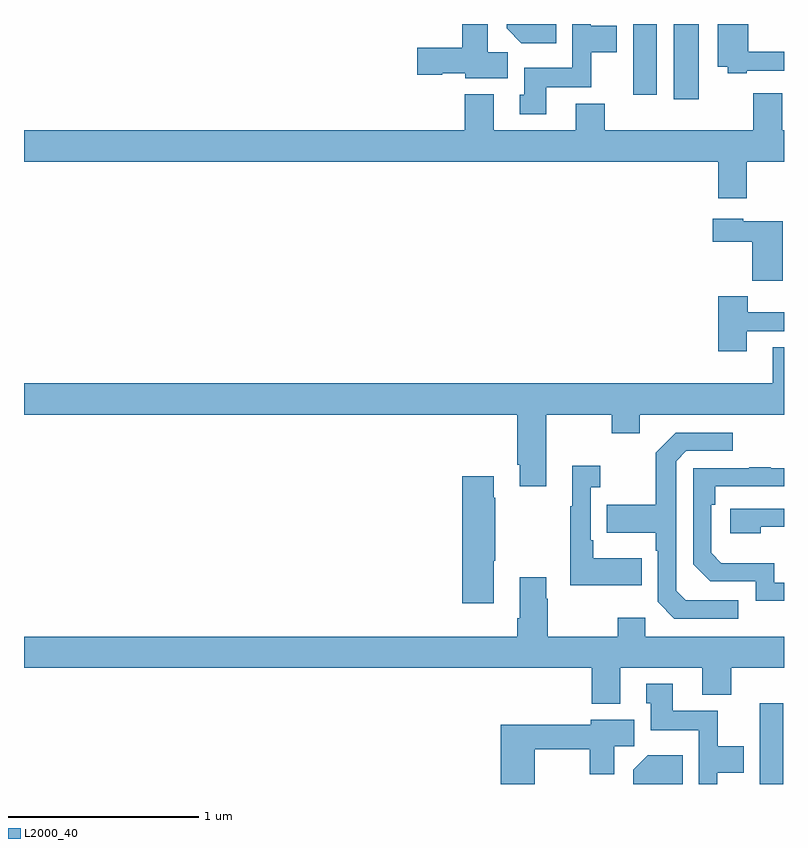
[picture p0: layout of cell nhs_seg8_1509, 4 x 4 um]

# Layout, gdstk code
import gdstk
lib = gdstk.Library(unit=1e-6, precision=1e-09)
def R(c, l, rs):  # rectangles x0, y0, x1, y1
    for r in rs: c.add(gdstk.rectangle(r[:2], r[2:], *l))
def P(c, l, *ps):  # polygons
    for p in ps: c.add(gdstk.Polygon(p, *l))
L2000_40 = (2000, 40)

nhs_seg8_1509 = lib.new_cell('nhs_seg8_1509')
R(nhs_seg8_1509, L2000_40, [(210.872,1103.9,210.997,1104.325), (210.419,1107.504,210.55,1107.9), (210.206,1107.528,210.331,1107.9)])
P(nhs_seg8_1509, L2000_40, [(209.801,1107.9),(209.54,1107.9),(209.54,1107.878),(209.618,1107.8),(209.801,1107.8)],
  [(210.805,1107.654),(211,1107.654),(211,1107.755),(210.812,1107.755),(210.812,1107.9),(210.65,1107.9),(210.65,1107.674),(210.705,1107.674),(210.705,1107.642),(210.805,1107.642)],
  [(209.545,1107.752),(209.44,1107.752),(209.44,1107.9),(209.306,1107.9),(209.306,1107.776),(209.07,1107.776),(209.07,1107.634),(209.202,1107.634),(209.202,1107.641),(209.322,1107.641),(209.322,1107.614),(209.545,1107.614)],
  [(209.749,1107.566),(209.985,1107.566),(209.985,1107.752),(210.121,1107.752),(210.121,1107.892),(209.982,1107.892),(209.982,1107.9),(209.886,1107.9),(209.886,1107.67),(209.633,1107.67),(209.633,1107.528),(209.609,1107.528),(209.609,1107.426),(209.749,1107.426)],
  [(210.805,1107.176),(211,1107.176),(211,1107.34),(210.992,1107.34),(210.992,1107.535),(210.839,1107.535),(210.839,1107.34),(210.056,1107.34),(210.056,1107.481),(209.903,1107.481),(209.903,1107.34),(209.473,1107.34),(209.473,1107.529),(209.321,1107.529),(209.321,1107.34),(207,1107.34),(207,1107.176),(210.653,1107.176),(210.653,1106.982),(210.805,1106.982)],
  [(210.994,1106.863),(210.786,1106.863),(210.786,1106.875),(210.624,1106.875),(210.624,1106.753),(210.832,1106.753),(210.832,1106.549),(210.994,1106.549)],
  [(210.805,1106.283),(211,1106.283),(211,1106.383),(210.808,1106.383),(210.808,1106.467),(210.653,1106.467),(210.653,1106.178),(210.805,1106.178)],
  [(209.749,1105.844),(210.094,1105.844),(210.094,1105.745),(210.241,1105.745),(210.241,1105.844),(211,1105.844),(211,1106.198),(210.941,1106.198),(210.941,1106.008),(207,1106.008),(207,1105.844),(209.597,1105.844),(209.597,1105.579),(209.609,1105.579),(209.609,1105.467),(209.749,1105.467)],
  [(210.76,1104.867),(210.483,1104.867),(210.432,1104.918),(210.432,1105.599),(210.486,1105.653),(210.73,1105.653),(210.73,1105.749),(210.429,1105.749),(210.324,1105.643),(210.324,1105.371),(210.067,1105.371),(210.067,1105.223),(210.324,1105.223),(210.324,1105.127),(210.336,1105.127),(210.336,1104.858),(210.423,1104.771),(210.76,1104.771)],
  [(210.251,1105.087),(209.995,1105.087),(209.995,1105.183),(209.982,1105.183),(209.982,1105.463),(210.034,1105.463),(210.034,1105.576),(209.885,1105.576),(209.885,1105.363),(209.874,1105.363),(209.874,1104.947),(210.251,1104.947)],
  [(211,1104.96),(210.948,1104.96),(210.948,1105.063),(210.671,1105.063),(210.618,1105.116),(210.618,1105.37),(210.638,1105.37),(210.638,1105.467),(211,1105.467),(211,1105.563),(210.929,1105.563),(210.929,1105.568),(210.817,1105.568),(210.817,1105.563),(210.522,1105.563),(210.522,1105.056),(210.612,1104.966),(210.852,1104.966),(210.852,1104.864),(211,1104.864)],
  [(209.473,1105.075),(209.481,1105.075),(209.481,1105.406),(209.473,1105.406),(209.473,1105.519),(209.306,1105.519),(209.306,1104.852),(209.473,1104.852)],
  [(210.878,1105.254),(211,1105.254),(211,1105.35),(210.717,1105.35),(210.717,1105.22),(210.878,1105.22)],
  [(210.139,1104.512),(210.569,1104.512),(210.569,1104.371),(210.722,1104.371),(210.722,1104.512),(211,1104.512),(211,1104.676),(210.27,1104.676),(210.27,1104.775),(210.124,1104.775),(210.124,1104.676),(209.757,1104.676),(209.757,1104.875),(209.749,1104.875),(209.749,1104.988),(209.609,1104.988),(209.609,1104.772),(209.597,1104.772),(209.597,1104.676),(207,1104.676),(207,1104.512),(209.987,1104.512),(209.987,1104.323),(210.139,1104.323)],
  [(210.648,1103.96),(210.787,1103.96),(210.787,1104.1),(210.651,1104.1),(210.651,1104.286),(210.415,1104.286),(210.415,1104.427),(210.275,1104.427),(210.275,1104.324),(210.299,1104.324),(210.299,1104.182),(210.552,1104.182),(210.552,1103.9),(210.648,1103.9)],
  [(209.688,1104.082),(209.977,1104.082),(209.977,1103.952),(210.106,1103.952),(210.106,1104.1),(210.211,1104.1),(210.211,1104.238),(209.984,1104.238),(209.984,1104.211),(209.51,1104.211),(209.51,1103.9),(209.688,1103.9)],
  [(210.467,1104.052),(210.284,1104.052),(210.206,1103.974),(210.206,1103.9),(210.467,1103.9)])

lib.write_gds('nhs_seg8_1509.gds')
